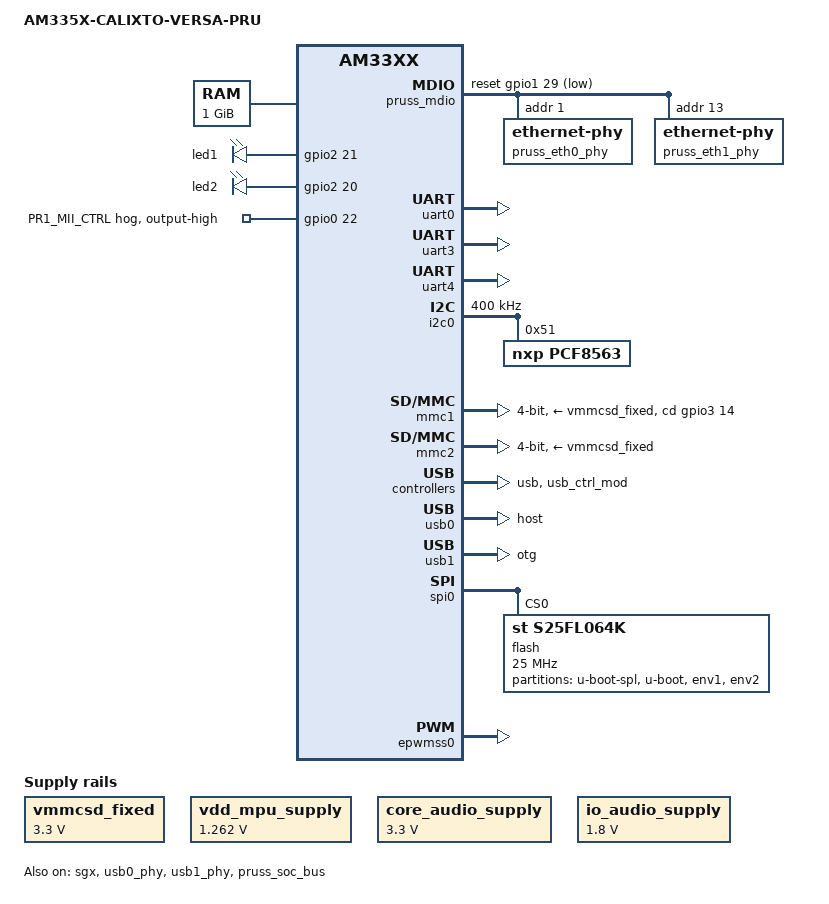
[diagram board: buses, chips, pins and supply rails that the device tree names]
/*
 * Copyright (C) 2020 Calixto Systems Pvt Ltd - http://www.calixto.com/
 *
 * This program is free software; you can redistribute it and/or modify
 * it under the terms of the GNU General Public License version 2 as
 * published by the Free Software Foundation.
 */

/*
 * AM335x CALIXTO STAMP EVM
 * http:// http://www.calixto.co.in/
 * Modified from am335x-evmsk
 * Modified by Vipin Vijayan <vipin.v@calixto.in>
 */

/dts-v1/;

#include "am33xx.dtsi"
#include <dt-bindings/pwm/pwm.h>
#include <dt-bindings/interrupt-controller/irq.h>

/ {
	model = "AM335X-CALIXTO-VERSA-PRU";
	compatible = "ti,am335x-calixto-versa-pru", "ti,am33xx";

	cpus {
		cpu@0 {
			cpu0-supply = <&vdd_mpu_supply>;
		};
	};

	memory {
		device_type = "memory";
		reg = <0x80000000 0x40000000>; /* 1024MB */
	};

	vmmcsd_fixed: fixedregulator@1 {
                compatible = "regulator-fixed";
                regulator-name = "vmmcsd-regulator";
                regulator-min-microvolt = <3300000>;
                regulator-max-microvolt = <3300000>;
                enable-active-high;
                regulator-always-on;
        };

        vdd_mpu_supply: fixedregulator@2 {
                compatible = "regulator-fixed";
                regulator-name = "vdd-mpu-regulator";
                regulator-min-microvolt = <1262000>;
                regulator-max-microvolt = <1262000>;
                regulator-boot-on;
                regulator-always-on;
        };

	core_audio_supply: fixedregulator-audiocore {
                compatible = "regulator-fixed";
                regulator-name = "core_audio_supply";
                regulator-min-microvolt = <3300000>;
                regulator-max-microvolt = <3300000>;
                regulator-boot-on;
        };

        io_audio_supply: fixedregulator-audioio {
                compatible = "regulator-fixed";
                regulator-name = "io_audio_supply";
                regulator-min-microvolt = <1800000>;
                regulator-max-microvolt = <1800000>;
                regulator-boot-on;
        };

	leds {
		pinctrl-names = "default", "sleep";
		pinctrl-0 = <&user_leds_default>;
		pinctrl-1 = <&user_leds_sleep>;

		compatible = "gpio-leds";

		led@1 {
			label = "led1";
			gpios = <&gpio2 21 GPIO_ACTIVE_HIGH>;
			linux,default-trigger = "heartbeat";
			default-state = "on";
		};

		led@2 {
			label = "led2";
			gpios = <&gpio2 20 GPIO_ACTIVE_HIGH>;
			linux,default-trigger = "heartbeat";
			default-state = "on";
		};
	};

	/*gpio_buttons: gpio_buttons@0 {
		compatible = "gpio-keys";
		pinctrl-names = "default";
		pinctrl-0 = <&gpio_keys_s0>;
		#address-cells = <1>;
		#size-cells = <0>;

		switch@1 {
			label = "button0";
			linux,code = <0x100>;
			gpios = <&gpio0 22 GPIO_ACTIVE_HIGH>;
		};
	};*/

	aliases {
		ethernet0 = &pruss_emac0;
		ethernet1 = &pruss_emac1;
	};

	/* Dual mac ethernet application node on icss */
	pruss_eth: pruss_eth {
		compatible = "ti,am3359-prueth";
		prus = <&pru0>, <&pru1>;
		firmware-name = "ti-pruss/am335x-pru0-prueth-fw.elf",
				"ti-pruss/am335x-pru1-prueth-fw.elf";
		sram = <&ocmcram>;
		interrupt-parent = <&pruss_intc>;
		mii-rt = <&pruss_mii_rt>;
		pinctrl-0 = <&pruss_eth_default>;
		pinctrl-names = "default";
		interrupts = <20>, <21>;
		interrupt-names = "rx_red_hp", "rx_red_lp";

		pruss_emac0: ethernet-mii0 {
			phy-handle = <&pruss_eth0_phy>;
			phy-mode = "mii";
			interrupts = <20>, <22>, <23>, <26>;
			interrupt-names = "rx", "tx", "hsrprp_ptp_tx",
					  "emac_ptp_tx";
			/* Filled in by bootloader */
			local-mac-address = [00 00 00 00 00 00];
		};

		pruss_emac1: ethernet-mii1 {
			phy-handle = <&pruss_eth1_phy>;
			phy-mode = "mii";
			interrupts = <21>, <23>, <24>, <27>;
			interrupt-names = "rx", "tx", "hsrprp_ptp_tx",
					  "emac_ptp_tx";
			/* Filled in by bootloader */
			local-mac-address = [00 00 00 00 00 00];
		};
	};


};

&am33xx_pinmux {
	pinctrl-names = "default";
	pinctrl-0 = <&clkout2_pin>;

	user_leds_default: user_leds_default {
		pinctrl-single,pins = <
			AM33XX_IOPAD(0x93C, PIN_OUTPUT_PULLDOWN | MUX_MODE7 ) /* mcasp0_ahclkr.gpio3_17 */
			AM33XX_IOPAD(0x940, PIN_OUTPUT_PULLDOWN | MUX_MODE7 ) /* mcasp0_aclkr.gpio3_18 */
		>;
	};

	user_leds_sleep: user_leds_sleep {
		pinctrl-single,pins = <
			AM33XX_IOPAD(0x93C, PIN_INPUT_PULLDOWN | MUX_MODE7 ) /* mcasp0_ahclkr.gpio3_17 */
			AM33XX_IOPAD(0x940, PIN_INPUT_PULLDOWN | MUX_MODE7 ) /* mcasp0_aclkr.gpio3_18 */
		>;
	};

//	gpio_keys_s0: gpio_keys_s0 {
//		pinctrl-single,pins = <
//			AM33XX_IOPAD(0x9A4, PIN_INPUT_PULLDOWN | MUX_MODE7 ) /* mcasp0_fsr.gpio3_19 */
//			AM33XX_IOPAD(0x820, PIN_INPUT_PULLDOWN | MUX_MODE7 ) /* mcasp0_fsr.gpio3_19 */
//			
//		>;
//	};

	uart0_pins: pinmux_uart0_pins {
		pinctrl-single,pins = <
			AM33XX_IOPAD(0x970, PIN_INPUT_PULLUP | MUX_MODE0)	/* uart0_rxd.uart0_rxd */
			AM33XX_IOPAD(0x974, PIN_OUTPUT_PULLDOWN | MUX_MODE0)	/* uart0_txd.uart0_txd */
		>;
	};
	
        i2c0_pins: pinmux_i2c0_pins {
               pinctrl-single,pins = <
                       AM33XX_IOPAD(0x988, PIN_INPUT_PULLUP | MUX_MODE0)    /* i2c0_sda.i2c0_sda */
                       AM33XX_IOPAD(0x98c, PIN_INPUT_PULLUP | MUX_MODE0)    /* i2c0_scl.i2c0_scl */
               >;
        };

        uart4_pins: pinmux_uart4_pins {
               pinctrl-single,pins = <
                       AM33XX_IOPAD(0x968, PIN_INPUT_PULLUP    | MUX_MODE1)  /* uart0_ctsn.uart4_rxd */
                       AM33XX_IOPAD(0x96C, PIN_OUTPUT_PULLDOWN | MUX_MODE1)  /* uart0_rtsn.uart4_txd */
               >;
        };

        uart3_pins: pinmux_uart3_pins {
               pinctrl-single,pins = <
                       AM33XX_IOPAD(0x960, PIN_INPUT_PULLUP    | MUX_MODE1)  /* spi0_cs1.uart3_rxd  */
                       AM33XX_IOPAD(0x938, PIN_OUTPUT_PULLDOWN | MUX_MODE1)  /* mii1_rxd2.uart3_txd */
               >;
        };

        clkout2_pin: pinmux_clkout2_pin {
                pinctrl-single,pins = <
                        AM33XX_IOPAD(0x9b4, PIN_OUTPUT_PULLDOWN | MUX_MODE3) /* xdma_event_intr1.clkout2 */
                >;
        };

        mmc1_pins_default: pinmux_mmc1_pins {
                pinctrl-single,pins = <
                        AM33XX_IOPAD(0x8F0, PIN_INPUT_PULLUP | MUX_MODE0)    /* mmc0_dat3.mmc0_dat3 */
                        AM33XX_IOPAD(0x8F4, PIN_INPUT_PULLUP | MUX_MODE0)    /* mmc0_dat2.mmc0_dat2 */
                        AM33XX_IOPAD(0x8F8, PIN_INPUT_PULLUP | MUX_MODE0)    /* mmc0_dat1.mmc0_dat1 */
                        AM33XX_IOPAD(0x8FC, PIN_INPUT_PULLUP | MUX_MODE0)    /* mmc0_dat0.mmc0_dat0 */
                        AM33XX_IOPAD(0x900, PIN_INPUT_PULLUP | MUX_MODE0)    /* mmc0_clk.mmc0_clk */
                        AM33XX_IOPAD(0x904, PIN_INPUT_PULLUP | MUX_MODE0)    /* mmc0_cmd.mmc0_cmd */
                        AM33XX_IOPAD(0x990, PIN_INPUT | MUX_MODE7)           /* mcasp0_aclkx.gpio3_14 */
                >;
        };

	mmc1_pins_sleep: pinmux_mmc1_pins_sleep {
                pinctrl-single,pins = <
                        AM33XX_IOPAD(0x8F0, PIN_INPUT_PULLDOWN | MUX_MODE7)
                        AM33XX_IOPAD(0x8F4, PIN_INPUT_PULLDOWN | MUX_MODE7)
                        AM33XX_IOPAD(0x8F8, PIN_INPUT_PULLDOWN | MUX_MODE7)
                        AM33XX_IOPAD(0x8FC, PIN_INPUT_PULLDOWN | MUX_MODE7)
                        AM33XX_IOPAD(0x900, PIN_INPUT_PULLDOWN | MUX_MODE7)
                        AM33XX_IOPAD(0x904, PIN_INPUT_PULLDOWN | MUX_MODE7)
                        AM33XX_IOPAD(0x990, PIN_INPUT | MUX_MODE7)
                >;
        };

	emmc_pins: pinmux_emmc_pins {
		pinctrl-single,pins = <
			AM33XX_IOPAD(0x928, PIN_INPUT_PULLUP | MUX_MODE6 ) /* (K17) gpmc_csn1.mmc1_clk */
			AM33XX_IOPAD(0x924, PIN_INPUT_PULLUP | MUX_MODE6 ) /* (K16) gpmc_csn2.mmc1_cmd */
			AM33XX_IOPAD(0x800, PIN_INPUT_PULLUP | MUX_MODE1 ) /* (U7) gpmc_ad0.mmc1_dat0 */
			AM33XX_IOPAD(0x804, PIN_INPUT_PULLUP | MUX_MODE1 ) /* (V7) gpmc_ad1.mmc1_dat1 */
			AM33XX_IOPAD(0x808, PIN_INPUT_PULLUP | MUX_MODE1 ) /* (R8) gpmc_ad2.mmc1_dat2 */
			AM33XX_IOPAD(0x80c, PIN_INPUT_PULLUP | MUX_MODE1 ) /* (T8) gpmc_ad3.mmc1_dat3 */
		>;
	};



	spi0_pins: pinmux_spi0_pins {
		pinctrl-single,pins = <
			AM33XX_IOPAD(0x950, PIN_INPUT_PULLUP | MUX_MODE0 ) /* (A17) spi0_sclk.spi0_sclk */
			AM33XX_IOPAD(0x954, PIN_INPUT_PULLUP | MUX_MODE0 ) /* (B17) spi0_d0.spi0_d0 */
			AM33XX_IOPAD(0x958, PIN_OUTPUT_PULLUP | MUX_MODE0 ) /* (B16) spi0_d1.spi0_d1 */
			AM33XX_IOPAD(0x95c, PIN_OUTPUT_PULLUP | MUX_MODE0 ) /* (A16) spi0_cs0.spi0_cs0 */
		>;
	};

	ecap0_pins_default: ecap0_pins_default {
		pinctrl-single,pins = <
			AM33XX_IOPAD(0x964, PIN_OUTPUT | MUX_MODE0 ) /* (E18) eCAP0_in_PWM0_out.eCAP0_in_PWM0_out */
		>;
	};

	pruss_mdio_default: pruss_mdio_default {
		pinctrl-single,pins = <
			AM33XX_IOPAD(0x88c, (PIN_OUTPUT | MUX_MODE5))		/* gpmc_clk.pr1_mdio_mdclk */
			AM33XX_IOPAD(0x888, (PIN_INPUT  | MUX_MODE5))		/* gpmc_csn3.pr1_mdio_data */
			AM33XX_IOPAD(0x87c, (PIN_INPUT_PULLUP | MUX_MODE7))	/* (V6) gpmc_csn0.gpio1[29] */
			/* disable CPSW MDIO */
			AM33XX_IOPAD(0x948, (PIN_INPUT_PULLUP | MUX_MODE7))	/* mdio_data.gpio0_0 */
			AM33XX_IOPAD(0x94c, (PIN_INPUT_PULLUP | MUX_MODE7))	/* mdio_clk.gpio0_1 */
		>;
	};

	pruss_eth_default: pruss_eth_default {
		pinctrl-single,pins = <
			AM33XX_IOPAD(0x8a0, (PIN_INPUT  | MUX_MODE2))	/* dss_data0.pr1_mii_mt0_clk */
			AM33XX_IOPAD(0x8b4, (PIN_OUTPUT | MUX_MODE2))	/* dss_data5.pr1_mii0_txd0 */
			AM33XX_IOPAD(0x8b0, (PIN_OUTPUT | MUX_MODE2))	/* dss_data4.pr1_mii0_txd1 */
			AM33XX_IOPAD(0x8ac, (PIN_OUTPUT | MUX_MODE2))	/* dss_data3.pr1_mii0_txd2 */
			AM33XX_IOPAD(0x8a8, (PIN_OUTPUT | MUX_MODE2))	/* dss_data2.pr1_mii0_txd3 */
			AM33XX_IOPAD(0x8cc, (PIN_INPUT  | MUX_MODE5))	/* dss_data11.pr1_mii0_rxd0 */
			AM33XX_IOPAD(0x8c8, (PIN_INPUT  | MUX_MODE5))	/* dss_data10.pr1_mii0_rxd1 */
			AM33XX_IOPAD(0x8c4, (PIN_INPUT  | MUX_MODE5))	/* dss_data9.pr1_mii0_rxd2 */
			AM33XX_IOPAD(0x8c0, (PIN_INPUT  | MUX_MODE5))	/* dss_data8.pr1_mii0_rxd3 */
			AM33XX_IOPAD(0x8a4, (PIN_OUTPUT | MUX_MODE2))	/* dss_data1.pr1_mii0_txen */
			AM33XX_IOPAD(0x8d8, (PIN_INPUT  | MUX_MODE5))	/* dss_data14.pr1_mii_mr0_clk */
			AM33XX_IOPAD(0x8dc, (PIN_INPUT  | MUX_MODE5))	/* dss_data15.pr1_mii0_rxdv */
			AM33XX_IOPAD(0x8d4, (PIN_INPUT  | MUX_MODE5))	/* dss_data13.pr1_mii0_rxer */
			AM33XX_IOPAD(0x8d0, (PIN_INPUT  | MUX_MODE5))	/* dss_data12.pr1_mii0_rxlink */
			AM33XX_IOPAD(0x8e8, (PIN_INPUT  | MUX_MODE2))	/* dss_pclk.pr1_mii0_crs */

			AM33XX_IOPAD(0x840, (PIN_INPUT  | MUX_MODE5))	/* gpmc_a0.pr1_mii_mt1_clk */
			AM33XX_IOPAD(0x850, (PIN_OUTPUT | MUX_MODE5))	/* gpmc_a4.pr1_mii1_txd0 */
			AM33XX_IOPAD(0x84c, (PIN_OUTPUT | MUX_MODE5))	/* gpmc_a3.pr1_mii1_txd1 */
			AM33XX_IOPAD(0x848, (PIN_OUTPUT | MUX_MODE5))	/* gpmc_a2.pr1_mii1_txd2 */
			AM33XX_IOPAD(0x844, (PIN_OUTPUT | MUX_MODE5))	/* gpmc_a1.pr1_mii1_txd3 */
			AM33XX_IOPAD(0x860, (PIN_INPUT  | MUX_MODE5))	/* gpmc_a8.pr1_mii1_rxd0 */
			AM33XX_IOPAD(0x85c, (PIN_INPUT  | MUX_MODE5))	/* gpmc_a7.pr1_mii1_rxd1 */
			AM33XX_IOPAD(0x858, (PIN_INPUT  | MUX_MODE5))	/* gpmc_a6.pr1_mii1_rxd2 */
			AM33XX_IOPAD(0x854, (PIN_INPUT  | MUX_MODE5))	/* gpmc_a5.pr1_mii1_rxd3 */
			AM33XX_IOPAD(0x874, (PIN_OUTPUT | MUX_MODE5))	/* gpmc_wpn.pr1_mii1_txen */
			AM33XX_IOPAD(0x864, (PIN_INPUT  | MUX_MODE5))	/* gpmc_a9.pr1_mii_mr1_clk */
			AM33XX_IOPAD(0x868, (PIN_INPUT  | MUX_MODE5))	/* gpmc_a10.pr1_mii1_rxdv */
			AM33XX_IOPAD(0x86c, (PIN_INPUT  | MUX_MODE5))	/* gpmc_a11.pr1_mii1_rxer */
			AM33XX_IOPAD(0x878, (PIN_INPUT  | MUX_MODE5))	/* gpmc_ben1.pr1_mii1_rxlink */
			AM33XX_IOPAD(0x8ec, (PIN_INPUT  | MUX_MODE2))	/* lcd_ac_bias_en.pr1_mii1_crs */
			AM33XX_IOPAD(0x870, (PIN_INPUT  | MUX_MODE5))	/* gpmc_wait0.pr1_mii1_col */

			AM33XX_IOPAD(0x810, PIN_INPUT_PULLUP | MUX_MODE7) /* (U8) gpmc_ad4.gpio1[4] */
			AM33XX_IOPAD(0x814, PIN_INPUT_PULLUP | MUX_MODE7) /* (V8) gpmc_ad5.gpio1[5] */
		>;
	};

};


&pruss_mdio {
	pinctrl-0 = <&pruss_mdio_default>;
	pinctrl-names = "default";
	reset-gpios = <&gpio1 29 GPIO_ACTIVE_LOW>;
	reset-delay-us = <11>; /* PHY datasheet states 1uS min */
	status = "okay";

	pruss_eth0_phy: ethernet-phy@1 {
		 reg = <1>;
	};

	pruss_eth1_phy: ethernet-phy@3 {
		 reg = <13>;
	};
};

&gpio0 {
	p22 {
		gpio-hog;
		gpios = <22 GPIO_ACTIVE_HIGH>;
		output-high;
		line-name = "PR1_MII_CTRL";
	};

};

&uart0 {
	pinctrl-names = "default";
	pinctrl-0 = <&uart0_pins>;
	status = "okay";
};

&uart3 {
        pinctrl-names = "default";
        pinctrl-0 = <&uart3_pins>;
        status = "okay";
};

&uart4 {
        pinctrl-names = "default";
        pinctrl-0 = <&uart4_pins>;
        status = "okay";
};

&i2c0 {
        pinctrl-names = "default";
        pinctrl-0 = <&i2c0_pins>;
        status = "okay";
        clock-frequency = <400000>;
	
	  pcf8563: pcf8563@51 {
          	compatible = "nxp,pcf8563";
             	reg = <0x51>;
          };
};

&mmc1 {
	status = "okay";
	vmmc-supply = <&vmmcsd_fixed>;
	bus-width = <4>;
	pinctrl-names = "default", "sleep";
	pinctrl-0 = <&mmc1_pins_default>;
	pinctrl-1 = <&mmc1_pins_sleep>;
	cd-gpios = <&gpio3 14 GPIO_ACTIVE_HIGH>;
};

&mmc2 {
	status = "okay";
	pinctrl-names = "default";
	pinctrl-0 = <&emmc_pins>;
        vmmc-supply = <&vmmcsd_fixed>;
	bus-width = <4>;
	ti,non-removable;
};


&rtc {
	system-power-controller;
};


&sgx {
      status = "okay";
};

&usb {
      status = "okay";
};

&usb_ctrl_mod {
      status = "okay";
};

&usb0_phy {
     status = "okay";
};

&usb1_phy {
     status = "okay";
};

&usb0 {
     status = "okay";
     dr_mode = "host";
};

&usb1 {
     status = "okay";
     dr_mode = "otg";
};

&cppi41dma  {
     status = "okay";
};

/*
 * SPI Flash (1MiB)
 * 0x000000 - 0x01FFFF : SPL (128KiB)
 * 0x020000 - 0x09FFFF : U-Boot (512KiB)
 * 0x0A0000 - 0x0BFFFF : First copy of U-Boot Environment (128KiB)
 * 0x0C0000 - 0x0DFFFF : Second copy of U-Boot Environment (128KiB)
 */
&spi0 {
	pinctrl-names = "default";
	pinctrl-0 = <&spi0_pins>;
	status = "okay";

	flash: s25fl064k@0 {
		 #address-cells = <1>;
		 #size-cells = <1>;
		 compatible = "st,s25fl064k";
		 spi-max-frequency = <25000000>;
		 reg = <0>;


		 partition@0 {
			 label = "u-boot-spl";
			 reg = <0x000000 0x020000>;
		 };


		 partition@1 {
			 label = "u-boot";
			 reg = <0x020000 0x080000>;
		 };

		 partition@2 {
			 label = "env1";
			 reg = <0x0A0000 0x010000>;
		 };

		 partition@3 {
			 label = "env2";
			 reg = <0x0B0000 0x010000>;
		 };

	};
};

&pruss_soc_bus {
	status = "okay";

	pruss: pruss@4a300000 {
		status = "okay";
	};
};

&epwmss0 {
	status = "okay";

	ecap0: ecap@48300100 {
		status = "okay";
		pinctrl-names = "default";
		pinctrl-0 = <&ecap0_pins_default>;
	};
};

